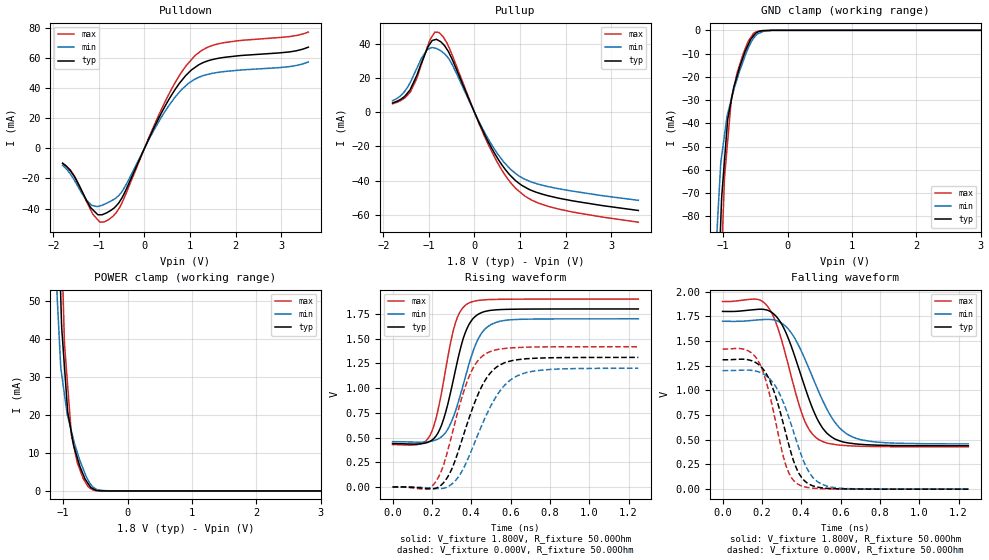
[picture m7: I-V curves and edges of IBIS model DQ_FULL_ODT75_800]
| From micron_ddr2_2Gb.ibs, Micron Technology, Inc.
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|   MODEL DQ_FULL_ODT75_800 (Full-Strength IO Driver with 75 Ohm ODT Submodel)
[Model]   DQ_FULL_ODT75_800
Model_type   I/O
Vinl = 700.000mV
Vinh = 1.100V
Vmeas = 900.000mV
Vref = 900.000mV
Cref = 0.0pF
Rref = 25.000Ohm
|   typ   min   max
C_comp   3.047pF   2.810pF   3.247pF
| Note: C_comp increases when the ODT circuit is enabled.
[Model Spec]
| Measurement voltage corners
Vmeas   0.900V   0.850V   0.950V
| Input threshold voltage corners
Vinl   0.700V   0.650V   0.750V
Vinh   1.100V   1.050V   1.150V
| Timing spec test load voltage corners
Vref   0.900V   0.850V   0.950V
[Receiver Thresholds]
Vth   =  0.900V
Vth_min  =  0.882V
Vth_max  =  0.918V
Vinh_ac  =  0.200V
Vinh_dc  =  0.125V
Vinl_ac  = -0.200V
Vinl_dc  = -0.125V
Tslew_ac =  5.000ns |Not specified, so set to high value
Threshold_sensitivity = 0.50
Reference_supply Pullup_ref
[Voltage Range]   1.800V   1.700V   1.900V
[Pullup Reference]   1.800V   1.700V   1.900V
| Junction Temperature (Ambient temp is 25C typ, 85C min, 0C max)
[Temperature Range]   40.0   100.0   0.0
[Add Submodel]
| Submodel Name   Mode
75ohm_ODT_800   Non-Driving
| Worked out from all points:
|   slope of the pulldown table from 0 to 0.27 V, typ, clamps not added: 15.5 ohm
|   slope of the pullup table from 0 to 0.27 V, typ, clamps not added: 17.3 ohm
|   GND clamp passes 1 mA (typ) near -0.48 V on its own axis
|   POWER clamp passes 1 mA (typ) near -0.58 V on its own axis
|   falling waveform, V_fixture 1.800V, R_fixture 50.00Ohm: 20-80 % time 147ps typ, 174ps min, 126ps max; typ from 1.8 V to 0.439 V
|   rising waveform, V_fixture 1.800V, R_fixture 50.00Ohm: 20-80 % time 101ps typ, 116ps min, 87.5ps max; typ from 0.439 V to 1.8 V
|   rising waveform, V_fixture 0.000V, R_fixture 50.00Ohm: 20-80 % time 145ps typ, 169ps min, 124ps max; typ from 0 V to 1.31 V
|   falling waveform, V_fixture 0.000V, R_fixture 50.00Ohm: 20-80 % time 115ps typ, 130ps min, 101ps max; typ from 1.31 V to 0 V
[Pulldown]
|   Voltage   I(typ)   I(min)   I(max)
-1.8V     -10.01mA   -11.29mA   -9.848mA
-1.53V    -19.29mA   -21.75mA   -18.78mA
-1.16V    -40mA      -37.86mA   -42.24mA
-980mV    -44.1mA    -38.2mA    -49mA
-835mV    -42.86mA   -36.47mA   -48.09mA
-530mV    -34.58mA   -30.12mA   -38.38mA
465mV     28.65mA    25.15mA    31.68mA
765mV     43.01mA    37.23mA    48.16mA
1.11V     53.63mA    45.87mA    61.46mA
1.695V    60.06mA    50.7mA     69.75mA
3.19V     63.96mA    54.18mA    74.13mA
3.6V      67.08mA    57.26mA    77.08mA
[GND Clamp]
|   Voltage   I(typ)   I(min)   I(max)
-1.8V     -803.9mA   -711.7mA   -858.5mA
-1.135V   -154.1mA   -106.2mA   -181.1mA
-1.04V    -84.2mA    -58.49mA   -109.4mA
-1.02V    -70.73mA   -53.47mA   -94.29mA
-975mV    -54.54mA   -44.22mA   -62.08mA
-930mV    -38.35mA   -35.79mA   -47.75mA
-870mV    -29.62mA   -29.36mA   -28.83mA
-690mV    -11.56mA   -13.35mA   -10.16mA
-605mV    -5.858mA   -7.344mA   -4.484mA
-490mV    -1.138mA   -2.125mA   -644.5uA
-265mV    0A         -96.02uA   NA
3.6V      0A         0A         0A
[Pullup]
|   Voltage   I(typ)   I(min)   I(max)
-1.8V     5.504mA    6.781mA    5.041mA
-1.555V   8.954mA    11.59mA    8.047mA
-1.41V    13.52mA    17.65mA    11.91mA
-1.035V   37.67mA    36.9mA     38.33mA
-870mV    42.62mA    37.67mA    47.11mA
-780mV    42.04mA    36.71mA    46.89mA
-525mV    33.05mA    29.78mA    35.98mA
315mV     -17.9mA    -16.2mA    -19.57mA
600mV     -30.72mA   -27.59mA   -33.8mA
910mV     -40.24mA   -35.98mA   -44.76mA
1.645V    -49.12mA   -43.72mA   -55.33mA
3.6V      -57.58mA   -51.62mA   -64.46mA
[POWER Clamp]
|   Voltage   I(typ)   I(min)   I(max)
-1.8V     610.1mA    529.4mA    658.9mA
-1.135V   105.4mA    65.17mA    129.7mA
-1.04V    52.51mA    33.52mA    74.28mA
-1.02V    42.42mA    30.4mA     62.62mA
-975mV    31.68mA    24.84mA    37.84mA
-930mV    20.93mA    19.74mA    27.79mA
-870mV    15.17mA    15.62mA    14.52mA
-780mV    8.716mA    10.15mA    7.437mA
-690mV    4.383mA    5.845mA    3.308mA
-535mV    562.7uA    1.025mA    231uA
-326mV    0A         NA         NA
3.6V      0A         0A         0A
[Ramp]
R_load = 50.00Ohm
|   typ   min   max
dV/dt_r   785.906mV/144.824ps 720.221mV/168.992ps 850.725mV/124.340ps
dV/dt_f   816.473mV/147.265ps 745.005mV/173.794ps 882.571mV/125.966ps
[Falling Waveform]
V_fixture = 1.800V
V_fixture_min = 1.700V
V_fixture_max = 1.900V
R_fixture = 50.00Ohm
|   Time   V(typ)   V(min)   V(max)
0s        1.8V       1.7V       1.9V
170ps     1.819V     1.712V     1.924V
230ps     1.811V     1.719V     1.848V
280ps     1.732V     1.702V     1.639V
350ps     1.444V     1.581V     1.137V
420ps     1.025V     1.312V     680.8mV
490ps     678.9mV    982.2mV    500.4mV
580ps     500.7mV    655.8mV    449.8mV
680ps     457.4mV    513.5mV    435.8mV
1.25ns    439mV      458.2mV    428.9mV
[Rising Waveform]
V_fixture = 1.800V
V_fixture_min = 1.700V
V_fixture_max = 1.900V
R_fixture = 50.00Ohm
|   Time   V(typ)   V(min)   V(max)
0s        439mV      458.2mV    428.9mV
140ps     436mV      452.9mV    434.3mV
190ps     460.9mV    460.2mV    519.3mV
220ps     512.5mV    475.2mV    686mV
250ps     629.9mV    509.9mV    963mV
320ps     1.183V     767.3mV    1.662V
380ps     1.608V     1.181V     1.851V
450ps     1.761V     1.547V     1.889V
530ps     1.792V     1.667V     1.897V
1.25ns    1.8V       1.7V       1.9V
[Rising Waveform]
V_fixture = 0.000V
V_fixture_min = 0.000V
V_fixture_max = 0.000V
R_fixture = 50.00Ohm
|   Time   V(typ)   V(min)   V(max)
0s        147uV      75.29uV    59.04uV
170ps     -15.78mV   -7.768mV   -20.67mV
220ps     -13.2mV    -15.88mV   53.74mV
260ps     44.85mV    -13.3mV    226.5mV
300ps     176.4mV    27.56mV    515.9mV
390ps     701.6mV    315.5mV    1.121V
480ps     1.107V     740.2mV    1.353V
570ps     1.256V     1.029V     1.4V
680ps     1.296V     1.157V     1.413V
1.25ns    1.31V      1.2V       1.418V
[Falling Waveform]
V_fixture = 0.000V
V_fixture_min = 0.000V
V_fixture_max = 0.000V
R_fixture = 50.00Ohm
|   Time   V(typ)   V(min)   V(max)
0s        1.31V      1.2V       1.418V
120ps     1.313V     1.206V     1.41V
180ps     1.267V     1.19V      1.303V
210ps     1.206V     1.163V     1.165V
250ps     1.052V     1.094V     867.6mV
320ps     578.2mV    822.9mV    253.3mV
390ps     153.7mV    402.1mV    43.39mV
460ps     32.73mV    116.7mV    9.904mV
550ps     6.573mV    21.97mV    2.589mV
1.25ns    147uV      75.29uV    59.04uV
